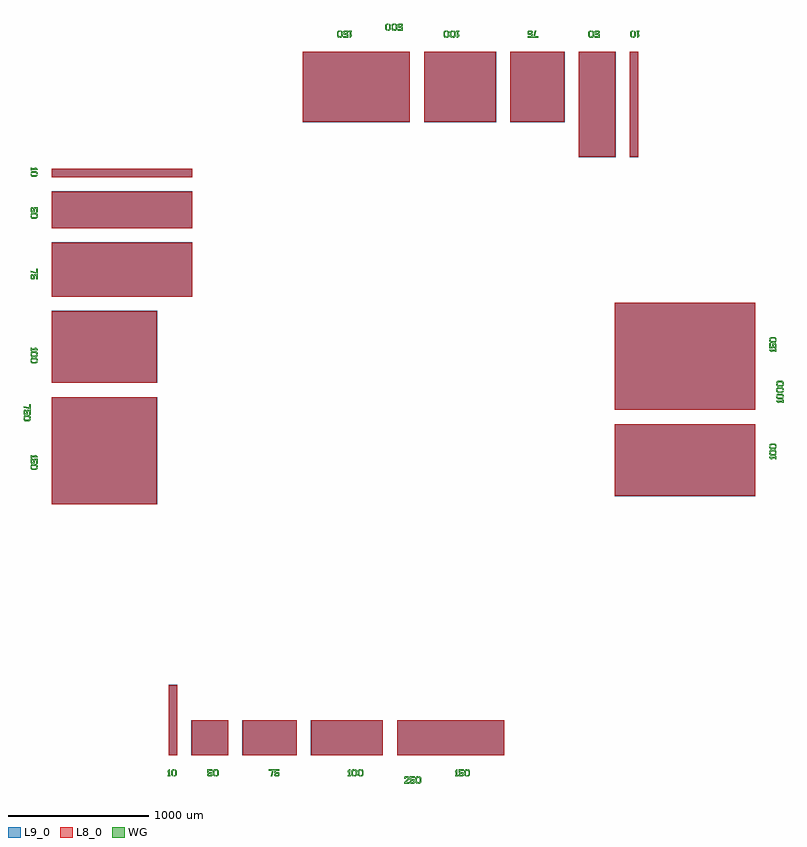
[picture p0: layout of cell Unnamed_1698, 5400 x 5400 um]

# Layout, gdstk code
from math import pi, radians
import gdstk
lib = gdstk.Library(unit=1e-6, precision=1e-09)
def R(c, l, rs):  # rectangles x0, y0, x1, y1
    for r in rs: c.add(gdstk.rectangle(r[:2], r[2:], *l))
def P(c, l, *ps):  # polygons
    for p in ps: c.add(gdstk.Polygon(p, *l))
WG = (1, 0)
L8_0 = (8, 0)
L9_0 = (9, 0)

unnamed_1697 = lib.new_cell('Unnamed_1697')

text_t1000_s50_p0_0_jlef = lib.new_cell('text_T1000_S50_P0_0_Jleft_L1_0')
P(text_t1000_s50_p0_0_jlef, WG, [(48.5,0),(51,10),(55,10),(60,15),(60,35),(55,40),(57.5,50),(60,50),(70,40),(70,10),(60,0)],
  [(93.5,0),(96,10),(100,10),(105,15),(105,35),(100,40),(102.5,50),(105,50),(115,40),(115,10),(105,0)],
  [(138.5,0),(141,10),(145,10),(150,15),(150,35),(145,40),(147.5,50),(150,50),(160,40),(160,10),(150,0)],
  [(40,0),(30,10),(30,40),(40,50),(51.5,50),(49,40),(45,40),(40,35),(40,15),(45,10),(42.5,0)],
  [(85,0),(75,10),(75,40),(85,50),(96.5,50),(94,40),(90,40),(85,35),(85,15),(90,10),(87.5,0)],
  [(130,0),(120,10),(120,40),(130,50),(141.5,50),(139,40),(135,40),(130,35),(130,15),(135,10),(132.5,0)],
  [(5,0),(5,10),(10,10),(10,30),(5,30),(5,40),(15,50),(20,50),(20,10),(25,10),(25,0)])

rectangle_s762_1000_l9__ = lib.new_cell('rectangle_S762_1000_L9__2ec0ac9d')
R(rectangle_s762_1000_l9__, L9_0, [(0,0,762,1000)])

text_t150_s50_p0_0_jleft = lib.new_cell('text_T150_S50_P0_0_Jleft_L1_0')
P(text_t150_s50_p0_0_jleft, WG, [(88.5,0),(91,10),(95,10),(100,15),(100,35),(95,40),(97.5,50),(100,50),(110,40),(110,10),(100,0)],
  [(80,0),(70,10),(70,40),(80,50),(91.5,50),(89,40),(85,40),(80,35),(80,15),(85,10),(82.5,0)],
  [(35,0),(30,5),(30,15),(40,15),(40,10),(55,10),(55,20),(35,20),(30,25),(30,50),(65,50),(65,40),(40,40),(40,30),(60,30),(65,25),(65,5),(60,0)],
  [(5,0),(5,10),(10,10),(10,30),(5,30),(5,40),(15,50),(20,50),(20,10),(25,10),(25,0)])

rectangle_s150_998_l8_0_ = lib.new_cell('rectangle_S150_998_L8_0_cd40ac17')
R(rectangle_s150_998_l8_0_, L8_0, [(0,0,150,998)])

unnamed_1691 = lib.new_cell('Unnamed_1691')
unnamed_1691.add(gdstk.Reference(rectangle_s762_1000_l9__, (331.333,0)))
unnamed_1691.add(gdstk.Reference(text_t150_s50_p0_0_jleft, (739.333,-150)))
unnamed_1691.add(gdstk.Reference(rectangle_s150_998_l8_0_, (333.333,0)))
unnamed_1691.add(gdstk.Reference(rectangle_s150_998_l8_0_, (485.333,0)))
unnamed_1691.add(gdstk.Reference(rectangle_s150_998_l8_0_, (637.333,0)))
unnamed_1691.add(gdstk.Reference(rectangle_s150_998_l8_0_, (789.333,0)))
unnamed_1691.add(gdstk.Reference(rectangle_s150_998_l8_0_, (941.333,0)))

rectangle_s512_1000_l9__ = lib.new_cell('rectangle_S512_1000_L9__49914296')
R(rectangle_s512_1000_l9__, L9_0, [(0,0,512,1000)])

text_t100_s50_p0_0_jleft = lib.new_cell('text_T100_S50_P0_0_Jleft_L1_0')
P(text_t100_s50_p0_0_jleft, WG, [(48.5,0),(51,10),(55,10),(60,15),(60,35),(55,40),(57.5,50),(60,50),(70,40),(70,10),(60,0)],
  [(93.5,0),(96,10),(100,10),(105,15),(105,35),(100,40),(102.5,50),(105,50),(115,40),(115,10),(105,0)],
  [(40,0),(30,10),(30,40),(40,50),(51.5,50),(49,40),(45,40),(40,35),(40,15),(45,10),(42.5,0)],
  [(85,0),(75,10),(75,40),(85,50),(96.5,50),(94,40),(90,40),(85,35),(85,15),(90,10),(87.5,0)],
  [(5,0),(5,10),(10,10),(10,30),(5,30),(5,40),(15,50),(20,50),(20,10),(25,10),(25,0)])

rectangle_s100_998_l8_0_ = lib.new_cell('rectangle_S100_998_L8_0_c306aa22')
R(rectangle_s100_998_l8_0_, L8_0, [(0,0,100,998)])

unnamed_1690 = lib.new_cell('Unnamed_1690')
unnamed_1690.add(gdstk.Reference(rectangle_s512_1000_l9__, (331.333,0)))
unnamed_1690.add(gdstk.Reference(text_t100_s50_p0_0_jleft, (589.333,-150)))
unnamed_1690.add(gdstk.Reference(rectangle_s100_998_l8_0_, (333.333,0)))
unnamed_1690.add(gdstk.Reference(rectangle_s100_998_l8_0_, (435.333,0)))
unnamed_1690.add(gdstk.Reference(rectangle_s100_998_l8_0_, (537.333,0)))
unnamed_1690.add(gdstk.Reference(rectangle_s100_998_l8_0_, (639.333,0)))
unnamed_1690.add(gdstk.Reference(rectangle_s100_998_l8_0_, (741.333,0)))

unnamed_1695 = lib.new_cell('Unnamed_1695')
unnamed_1695.add(gdstk.Reference(text_t1000_s50_p0_0_jlef, (2500,-200)))
unnamed_1695.add(gdstk.Reference(unnamed_1691, (2123,0)))
unnamed_1695.add(gdstk.Reference(unnamed_1690, (1511,0)))

unnamed_1696 = lib.new_cell('Unnamed_1696')

rectangle_s387_1000_l9__ = lib.new_cell('rectangle_S387_1000_L9__6f692152')
R(rectangle_s387_1000_l9__, L9_0, [(0,0,387,1000)])

text_t75_s50_p0_0_jleft_ = lib.new_cell('text_T75_S50_P0_0_Jleft_L1_0')
P(text_t75_s50_p0_0_jleft_, WG, [(50,0),(45,5),(45,15),(55,15),(55,10),(70,10),(70,20),(50,20),(45,25),(45,50),(80,50),(80,40),(55,40),(55,30),(75,30),(80,25),(80,5),(75,0)],
  [(20,0),(28,40),(5,40),(5,50),(40,50),(30,0)])

rectangle_s75_998_l8_0__ = lib.new_cell('rectangle_S75_998_L8_0__cc8ebacf')
R(rectangle_s75_998_l8_0__, L8_0, [(0,0,75,998)])

unnamed_1689 = lib.new_cell('Unnamed_1689')
unnamed_1689.add(gdstk.Reference(rectangle_s387_1000_l9__, (331.333,0)))
unnamed_1689.add(gdstk.Reference(text_t75_s50_p0_0_jleft_, (514.333,-150)))
unnamed_1689.add(gdstk.Reference(rectangle_s75_998_l8_0__, (333.333,0)))
unnamed_1689.add(gdstk.Reference(rectangle_s75_998_l8_0__, (410.333,0)))
unnamed_1689.add(gdstk.Reference(rectangle_s75_998_l8_0__, (487.333,0)))
unnamed_1689.add(gdstk.Reference(rectangle_s75_998_l8_0__, (564.333,0)))
unnamed_1689.add(gdstk.Reference(rectangle_s75_998_l8_0__, (641.333,0)))

rectangle_s62_1000_l9_0_ = lib.new_cell('rectangle_S62_1000_L9_0_8d7e5a74')
R(rectangle_s62_1000_l9_0_, L9_0, [(0,0,62,1000)])

text_t10_s50_p0_0_jleft_ = lib.new_cell('text_T10_S50_P0_0_Jleft_L1_0')
P(text_t10_s50_p0_0_jleft_, WG, [(48.5,0),(51,10),(55,10),(60,15),(60,35),(55,40),(57.5,50),(60,50),(70,40),(70,10),(60,0)],
  [(40,0),(30,10),(30,40),(40,50),(51.5,50),(49,40),(45,40),(40,35),(40,15),(45,10),(42.5,0)],
  [(5,0),(5,10),(10,10),(10,30),(5,30),(5,40),(15,50),(20,50),(20,10),(25,10),(25,0)])

rectangle_s10_998_l8_0__ = lib.new_cell('rectangle_S10_998_L8_0__618c10ad')
R(rectangle_s10_998_l8_0__, L8_0, [(0,0,10,998)])

unnamed_1687 = lib.new_cell('Unnamed_1687')
unnamed_1687.add(gdstk.Reference(rectangle_s62_1000_l9_0_, (331.333,0)))
unnamed_1687.add(gdstk.Reference(text_t10_s50_p0_0_jleft_, (319.333,-150)))
unnamed_1687.add(gdstk.Reference(rectangle_s10_998_l8_0__, (333.333,0)))
unnamed_1687.add(gdstk.Reference(rectangle_s10_998_l8_0__, (345.333,0)))
unnamed_1687.add(gdstk.Reference(rectangle_s10_998_l8_0__, (357.333,0)))
unnamed_1687.add(gdstk.Reference(rectangle_s10_998_l8_0__, (369.333,0)))
unnamed_1687.add(gdstk.Reference(rectangle_s10_998_l8_0__, (381.333,0)))

text_t750_s50_p0_0_jleft = lib.new_cell('text_T750_S50_P0_0_Jleft_L1_0')
P(text_t750_s50_p0_0_jleft, WG, [(95,0),(85,10),(85,40),(95,50),(106.5,50),(104,40),(100,40),(95,35),(95,15),(100,10),(97.5,0)],
  [(50,0),(45,5),(45,15),(55,15),(55,10),(70,10),(70,20),(50,20),(45,25),(45,50),(80,50),(80,40),(55,40),(55,30),(75,30),(80,25),(80,5),(75,0)],
  [(103.5,0),(106,10),(110,10),(115,15),(115,35),(110,40),(112.5,50),(115,50),(125,40),(125,10),(115,0)],
  [(20,0),(28,40),(5,40),(5,50),(40,50),(30,0)])

rectangle_s762_750_l9_0_ = lib.new_cell('rectangle_S762_750_L9_0_17e04201')
R(rectangle_s762_750_l9_0_, L9_0, [(0,0,762,750)])

rectangle_s150_748_l8_0_ = lib.new_cell('rectangle_S150_748_L8_0_392cc59f')
R(rectangle_s150_748_l8_0_, L8_0, [(0,0,150,748)])

unnamed_1686 = lib.new_cell('Unnamed_1686')
unnamed_1686.add(gdstk.Reference(rectangle_s762_750_l9_0_, (331.333,0)))
unnamed_1686.add(gdstk.Reference(text_t150_s50_p0_0_jleft, (739.333,-150)))
unnamed_1686.add(gdstk.Reference(rectangle_s150_748_l8_0_, (333.333,0)))
unnamed_1686.add(gdstk.Reference(rectangle_s150_748_l8_0_, (485.333,0)))
unnamed_1686.add(gdstk.Reference(rectangle_s150_748_l8_0_, (637.333,0)))
unnamed_1686.add(gdstk.Reference(rectangle_s150_748_l8_0_, (789.333,0)))
unnamed_1686.add(gdstk.Reference(rectangle_s150_748_l8_0_, (941.333,0)))

rectangle_s262_1000_l9__ = lib.new_cell('rectangle_S262_1000_L9__936ff396')
R(rectangle_s262_1000_l9__, L9_0, [(0,0,262,1000)])

text_t50_s50_p0_0_jleft_ = lib.new_cell('text_T50_S50_P0_0_Jleft_L1_0')
P(text_t50_s50_p0_0_jleft_, WG, [(63.5,0),(66,10),(70,10),(75,15),(75,35),(70,40),(72.5,50),(75,50),(85,40),(85,10),(75,0)],
  [(55,0),(45,10),(45,40),(55,50),(66.5,50),(64,40),(60,40),(55,35),(55,15),(60,10),(57.5,0)],
  [(10,0),(5,5),(5,15),(15,15),(15,10),(30,10),(30,20),(10,20),(5,25),(5,50),(40,50),(40,40),(15,40),(15,30),(35,30),(40,25),(40,5),(35,0)])

rectangle_s50_998_l8_0__ = lib.new_cell('rectangle_S50_998_L8_0__a3cc393b')
R(rectangle_s50_998_l8_0__, L8_0, [(0,0,50,998)])

unnamed_1688 = lib.new_cell('Unnamed_1688')
unnamed_1688.add(gdstk.Reference(rectangle_s262_1000_l9__, (331.333,0)))
unnamed_1688.add(gdstk.Reference(text_t50_s50_p0_0_jleft_, (439.333,-150)))
unnamed_1688.add(gdstk.Reference(rectangle_s50_998_l8_0__, (333.333,0)))
unnamed_1688.add(gdstk.Reference(rectangle_s50_998_l8_0__, (385.333,0)))
unnamed_1688.add(gdstk.Reference(rectangle_s50_998_l8_0__, (437.333,0)))
unnamed_1688.add(gdstk.Reference(rectangle_s50_998_l8_0__, (489.333,0)))
unnamed_1688.add(gdstk.Reference(rectangle_s50_998_l8_0__, (541.333,0)))

rectangle_s512_750_l9_0_ = lib.new_cell('rectangle_S512_750_L9_0_e4d6bea2')
R(rectangle_s512_750_l9_0_, L9_0, [(0,0,512,750)])

rectangle_s100_748_l8_0_ = lib.new_cell('rectangle_S100_748_L8_0_e52924da')
R(rectangle_s100_748_l8_0_, L8_0, [(0,0,100,748)])

unnamed_1685 = lib.new_cell('Unnamed_1685')
unnamed_1685.add(gdstk.Reference(rectangle_s512_750_l9_0_, (331.333,0)))
unnamed_1685.add(gdstk.Reference(text_t100_s50_p0_0_jleft, (589.333,-150)))
unnamed_1685.add(gdstk.Reference(rectangle_s100_748_l8_0_, (333.333,0)))
unnamed_1685.add(gdstk.Reference(rectangle_s100_748_l8_0_, (435.333,0)))
unnamed_1685.add(gdstk.Reference(rectangle_s100_748_l8_0_, (537.333,0)))
unnamed_1685.add(gdstk.Reference(rectangle_s100_748_l8_0_, (639.333,0)))
unnamed_1685.add(gdstk.Reference(rectangle_s100_748_l8_0_, (741.333,0)))

rectangle_s387_750_l9_0_ = lib.new_cell('rectangle_S387_750_L9_0_92368e84')
R(rectangle_s387_750_l9_0_, L9_0, [(0,0,387,750)])

rectangle_s75_748_l8_0__ = lib.new_cell('rectangle_S75_748_L8_0__21cc7b18')
R(rectangle_s75_748_l8_0__, L8_0, [(0,0,75,748)])

unnamed_1684 = lib.new_cell('Unnamed_1684')
unnamed_1684.add(gdstk.Reference(rectangle_s387_750_l9_0_, (331.333,0)))
unnamed_1684.add(gdstk.Reference(text_t75_s50_p0_0_jleft_, (514.333,-150)))
unnamed_1684.add(gdstk.Reference(rectangle_s75_748_l8_0__, (333.333,0)))
unnamed_1684.add(gdstk.Reference(rectangle_s75_748_l8_0__, (410.333,0)))
unnamed_1684.add(gdstk.Reference(rectangle_s75_748_l8_0__, (487.333,0)))
unnamed_1684.add(gdstk.Reference(rectangle_s75_748_l8_0__, (564.333,0)))
unnamed_1684.add(gdstk.Reference(rectangle_s75_748_l8_0__, (641.333,0)))

unnamed_1694 = lib.new_cell('Unnamed_1694')
unnamed_1694.add(gdstk.Reference(unnamed_1689, (1024,0)))
unnamed_1694.add(gdstk.Reference(unnamed_1687, (500,0)))
unnamed_1694.add(gdstk.Reference(text_t750_s50_p0_0_jleft, (2500,-200)))
unnamed_1694.add(gdstk.Reference(unnamed_1686, (2123,0)))
unnamed_1694.add(gdstk.Reference(unnamed_1688, (662,0)))
unnamed_1694.add(gdstk.Reference(unnamed_1685, (1511,0)))
unnamed_1694.add(gdstk.Reference(unnamed_1684, (1024,0)))

rectangle_s62_750_l9_0__ = lib.new_cell('rectangle_S62_750_L9_0__490fc4e6')
R(rectangle_s62_750_l9_0__, L9_0, [(0,0,62,750)])

rectangle_s10_748_l8_0__ = lib.new_cell('rectangle_S10_748_L8_0__afdd4900')
R(rectangle_s10_748_l8_0__, L8_0, [(0,0,10,748)])

unnamed_1682 = lib.new_cell('Unnamed_1682')
unnamed_1682.add(gdstk.Reference(text_t10_s50_p0_0_jleft_, (319.333,-150)))
unnamed_1682.add(gdstk.Reference(rectangle_s62_750_l9_0__, (331.333,0)))
unnamed_1682.add(gdstk.Reference(rectangle_s10_748_l8_0__, (333.333,0)))
unnamed_1682.add(gdstk.Reference(rectangle_s10_748_l8_0__, (345.333,0)))
unnamed_1682.add(gdstk.Reference(rectangle_s10_748_l8_0__, (357.333,0)))
unnamed_1682.add(gdstk.Reference(rectangle_s10_748_l8_0__, (369.333,0)))
unnamed_1682.add(gdstk.Reference(rectangle_s10_748_l8_0__, (381.333,0)))

text_t500_s50_p0_0_jleft = lib.new_cell('text_T500_S50_P0_0_Jleft_L1_0')
P(text_t500_s50_p0_0_jleft, WG, [(63.5,0),(66,10),(70,10),(75,15),(75,35),(70,40),(72.5,50),(75,50),(85,40),(85,10),(75,0)],
  [(108.5,0),(111,10),(115,10),(120,15),(120,35),(115,40),(117.5,50),(120,50),(130,40),(130,10),(120,0)],
  [(55,0),(45,10),(45,40),(55,50),(66.5,50),(64,40),(60,40),(55,35),(55,15),(60,10),(57.5,0)],
  [(100,0),(90,10),(90,40),(100,50),(111.5,50),(109,40),(105,40),(100,35),(100,15),(105,10),(102.5,0)],
  [(10,0),(5,5),(5,15),(15,15),(15,10),(30,10),(30,20),(10,20),(5,25),(5,50),(40,50),(40,40),(15,40),(15,30),(35,30),(40,25),(40,5),(35,0)])

rectangle_s762_500_l9_0_ = lib.new_cell('rectangle_S762_500_L9_0_673e083e')
R(rectangle_s762_500_l9_0_, L9_0, [(0,0,762,500)])

rectangle_s150_498_l8_0_ = lib.new_cell('rectangle_S150_498_L8_0_3344f8a4')
R(rectangle_s150_498_l8_0_, L8_0, [(0,0,150,498)])

unnamed_1681 = lib.new_cell('Unnamed_1681')
unnamed_1681.add(gdstk.Reference(rectangle_s762_500_l9_0_, (331.333,0)))
unnamed_1681.add(gdstk.Reference(text_t150_s50_p0_0_jleft, (739.333,-150)))
unnamed_1681.add(gdstk.Reference(rectangle_s150_498_l8_0_, (333.333,0)))
unnamed_1681.add(gdstk.Reference(rectangle_s150_498_l8_0_, (485.333,0)))
unnamed_1681.add(gdstk.Reference(rectangle_s150_498_l8_0_, (637.333,0)))
unnamed_1681.add(gdstk.Reference(rectangle_s150_498_l8_0_, (789.333,0)))
unnamed_1681.add(gdstk.Reference(rectangle_s150_498_l8_0_, (941.333,0)))

rectangle_s387_500_l9_0_ = lib.new_cell('rectangle_S387_500_L9_0_98f4c2b9')
R(rectangle_s387_500_l9_0_, L9_0, [(0,0,387,500)])

rectangle_s75_498_l8_0__ = lib.new_cell('rectangle_S75_498_L8_0__5f6cecd9')
R(rectangle_s75_498_l8_0__, L8_0, [(0,0,75,498)])

unnamed_1679 = lib.new_cell('Unnamed_1679')
unnamed_1679.add(gdstk.Reference(rectangle_s387_500_l9_0_, (331.333,0)))
unnamed_1679.add(gdstk.Reference(text_t75_s50_p0_0_jleft_, (514.333,-150)))
unnamed_1679.add(gdstk.Reference(rectangle_s75_498_l8_0__, (333.333,0)))
unnamed_1679.add(gdstk.Reference(rectangle_s75_498_l8_0__, (410.333,0)))
unnamed_1679.add(gdstk.Reference(rectangle_s75_498_l8_0__, (487.333,0)))
unnamed_1679.add(gdstk.Reference(rectangle_s75_498_l8_0__, (564.333,0)))
unnamed_1679.add(gdstk.Reference(rectangle_s75_498_l8_0__, (641.333,0)))

rectangle_s512_500_l9_0_ = lib.new_cell('rectangle_S512_500_L9_0_771133df')
R(rectangle_s512_500_l9_0_, L9_0, [(0,0,512,500)])

rectangle_s100_498_l8_0_ = lib.new_cell('rectangle_S100_498_L8_0_8e44272a')
R(rectangle_s100_498_l8_0_, L8_0, [(0,0,100,498)])

unnamed_1680 = lib.new_cell('Unnamed_1680')
unnamed_1680.add(gdstk.Reference(rectangle_s512_500_l9_0_, (331.333,0)))
unnamed_1680.add(gdstk.Reference(text_t100_s50_p0_0_jleft, (589.333,-150)))
unnamed_1680.add(gdstk.Reference(rectangle_s100_498_l8_0_, (333.333,0)))
unnamed_1680.add(gdstk.Reference(rectangle_s100_498_l8_0_, (435.333,0)))
unnamed_1680.add(gdstk.Reference(rectangle_s100_498_l8_0_, (537.333,0)))
unnamed_1680.add(gdstk.Reference(rectangle_s100_498_l8_0_, (639.333,0)))
unnamed_1680.add(gdstk.Reference(rectangle_s100_498_l8_0_, (741.333,0)))

rectangle_s262_750_l9_0_ = lib.new_cell('rectangle_S262_750_L9_0_9c07b2a0')
R(rectangle_s262_750_l9_0_, L9_0, [(0,0,262,750)])

rectangle_s50_748_l8_0__ = lib.new_cell('rectangle_S50_748_L8_0__e69bb82a')
R(rectangle_s50_748_l8_0__, L8_0, [(0,0,50,748)])

unnamed_1683 = lib.new_cell('Unnamed_1683')
unnamed_1683.add(gdstk.Reference(rectangle_s262_750_l9_0_, (331.333,0)))
unnamed_1683.add(gdstk.Reference(text_t50_s50_p0_0_jleft_, (439.333,-150)))
unnamed_1683.add(gdstk.Reference(rectangle_s50_748_l8_0__, (333.333,0)))
unnamed_1683.add(gdstk.Reference(rectangle_s50_748_l8_0__, (385.333,0)))
unnamed_1683.add(gdstk.Reference(rectangle_s50_748_l8_0__, (437.333,0)))
unnamed_1683.add(gdstk.Reference(rectangle_s50_748_l8_0__, (489.333,0)))
unnamed_1683.add(gdstk.Reference(rectangle_s50_748_l8_0__, (541.333,0)))

rectangle_s262_500_l9_0_ = lib.new_cell('rectangle_S262_500_L9_0_1d0361b1')
R(rectangle_s262_500_l9_0_, L9_0, [(0,0,262,500)])

rectangle_s50_498_l8_0__ = lib.new_cell('rectangle_S50_498_L8_0__cadecadc')
R(rectangle_s50_498_l8_0__, L8_0, [(0,0,50,498)])

unnamed_1678 = lib.new_cell('Unnamed_1678')
unnamed_1678.add(gdstk.Reference(text_t50_s50_p0_0_jleft_, (439.333,-150)))
unnamed_1678.add(gdstk.Reference(rectangle_s262_500_l9_0_, (331.333,0)))
unnamed_1678.add(gdstk.Reference(rectangle_s50_498_l8_0__, (333.333,0)))
unnamed_1678.add(gdstk.Reference(rectangle_s50_498_l8_0__, (385.333,0)))
unnamed_1678.add(gdstk.Reference(rectangle_s50_498_l8_0__, (437.333,0)))
unnamed_1678.add(gdstk.Reference(rectangle_s50_498_l8_0__, (489.333,0)))
unnamed_1678.add(gdstk.Reference(rectangle_s50_498_l8_0__, (541.333,0)))

unnamed_1693 = lib.new_cell('Unnamed_1693')
unnamed_1693.add(gdstk.Reference(unnamed_1682, (500,0)))
unnamed_1693.add(gdstk.Reference(text_t500_s50_p0_0_jleft, (2500,-200)))
unnamed_1693.add(gdstk.Reference(unnamed_1681, (2123,0)))
unnamed_1693.add(gdstk.Reference(unnamed_1679, (1024,0)))
unnamed_1693.add(gdstk.Reference(unnamed_1680, (1511,0)))
unnamed_1693.add(gdstk.Reference(unnamed_1683, (662,0)))
unnamed_1693.add(gdstk.Reference(unnamed_1678, (662,0)))

rectangle_s62_500_l9_0__ = lib.new_cell('rectangle_S62_500_L9_0__e5c27c60')
R(rectangle_s62_500_l9_0__, L9_0, [(0,0,62,500)])

rectangle_s10_498_l8_0__ = lib.new_cell('rectangle_S10_498_L8_0__ad3ec932')
R(rectangle_s10_498_l8_0__, L8_0, [(0,0,10,498)])

unnamed_1677 = lib.new_cell('Unnamed_1677')
unnamed_1677.add(gdstk.Reference(rectangle_s62_500_l9_0__, (331.333,0)))
unnamed_1677.add(gdstk.Reference(text_t10_s50_p0_0_jleft_, (319.333,-150)))
unnamed_1677.add(gdstk.Reference(rectangle_s10_498_l8_0__, (333.333,0)))
unnamed_1677.add(gdstk.Reference(rectangle_s10_498_l8_0__, (345.333,0)))
unnamed_1677.add(gdstk.Reference(rectangle_s10_498_l8_0__, (357.333,0)))
unnamed_1677.add(gdstk.Reference(rectangle_s10_498_l8_0__, (369.333,0)))
unnamed_1677.add(gdstk.Reference(rectangle_s10_498_l8_0__, (381.333,0)))

text_t250_s50_p0_0_jleft = lib.new_cell('text_T250_S50_P0_0_Jleft_L1_0')
P(text_t250_s50_p0_0_jleft, WG, [(95,0),(85,10),(85,40),(95,50),(106.5,50),(104,40),(100,40),(95,35),(95,15),(100,10),(97.5,0)],
  [(50,0),(45,5),(45,15),(55,15),(55,10),(70,10),(70,20),(50,20),(45,25),(45,50),(80,50),(80,40),(55,40),(55,30),(75,30),(80,25),(80,5),(75,0)],
  [(103.5,0),(106,10),(110,10),(115,15),(115,35),(110,40),(112.5,50),(115,50),(125,40),(125,10),(115,0)],
  [(5,0),(5,10),(30,35),(30,40),(15,40),(15,35),(5,35),(5,45),(10,50),(35,50),(40,45),(40,30),(20,10),(40,10),(40,0)])

rectangle_s512_250_l9_0_ = lib.new_cell('rectangle_S512_250_L9_0_a11cdf93')
R(rectangle_s512_250_l9_0_, L9_0, [(0,0,512,250)])

rectangle_s100_248_l8_0_ = lib.new_cell('rectangle_S100_248_L8_0_ec6efe2a')
R(rectangle_s100_248_l8_0_, L8_0, [(0,0,100,248)])

unnamed_1675 = lib.new_cell('Unnamed_1675')
unnamed_1675.add(gdstk.Reference(rectangle_s512_250_l9_0_, (331.333,0)))
unnamed_1675.add(gdstk.Reference(text_t100_s50_p0_0_jleft, (589.333,-150)))
unnamed_1675.add(gdstk.Reference(rectangle_s100_248_l8_0_, (333.333,0)))
unnamed_1675.add(gdstk.Reference(rectangle_s100_248_l8_0_, (435.333,0)))
unnamed_1675.add(gdstk.Reference(rectangle_s100_248_l8_0_, (537.333,0)))
unnamed_1675.add(gdstk.Reference(rectangle_s100_248_l8_0_, (639.333,0)))
unnamed_1675.add(gdstk.Reference(rectangle_s100_248_l8_0_, (741.333,0)))

rectangle_s387_250_l9_0_ = lib.new_cell('rectangle_S387_250_L9_0_9fa70b9d')
R(rectangle_s387_250_l9_0_, L9_0, [(0,0,387,250)])

rectangle_s75_248_l8_0__ = lib.new_cell('rectangle_S75_248_L8_0__2b17ab04')
R(rectangle_s75_248_l8_0__, L8_0, [(0,0,75,248)])

unnamed_1674 = lib.new_cell('Unnamed_1674')
unnamed_1674.add(gdstk.Reference(rectangle_s387_250_l9_0_, (331.333,0)))
unnamed_1674.add(gdstk.Reference(text_t75_s50_p0_0_jleft_, (514.333,-150)))
unnamed_1674.add(gdstk.Reference(rectangle_s75_248_l8_0__, (333.333,0)))
unnamed_1674.add(gdstk.Reference(rectangle_s75_248_l8_0__, (410.333,0)))
unnamed_1674.add(gdstk.Reference(rectangle_s75_248_l8_0__, (487.333,0)))
unnamed_1674.add(gdstk.Reference(rectangle_s75_248_l8_0__, (564.333,0)))
unnamed_1674.add(gdstk.Reference(rectangle_s75_248_l8_0__, (641.333,0)))

rectangle_s762_250_l9_0_ = lib.new_cell('rectangle_S762_250_L9_0_6f3f16c2')
R(rectangle_s762_250_l9_0_, L9_0, [(0,0,762,250)])

rectangle_s150_248_l8_0_ = lib.new_cell('rectangle_S150_248_L8_0_45914063')
R(rectangle_s150_248_l8_0_, L8_0, [(0,0,150,248)])

unnamed_1676 = lib.new_cell('Unnamed_1676')
unnamed_1676.add(gdstk.Reference(text_t150_s50_p0_0_jleft, (739.333,-150)))
unnamed_1676.add(gdstk.Reference(rectangle_s762_250_l9_0_, (331.333,0)))
unnamed_1676.add(gdstk.Reference(rectangle_s150_248_l8_0_, (333.333,0)))
unnamed_1676.add(gdstk.Reference(rectangle_s150_248_l8_0_, (485.333,0)))
unnamed_1676.add(gdstk.Reference(rectangle_s150_248_l8_0_, (637.333,0)))
unnamed_1676.add(gdstk.Reference(rectangle_s150_248_l8_0_, (789.333,0)))
unnamed_1676.add(gdstk.Reference(rectangle_s150_248_l8_0_, (941.333,0)))

rectangle_s262_250_l9_0_ = lib.new_cell('rectangle_S262_250_L9_0_a30c850b')
R(rectangle_s262_250_l9_0_, L9_0, [(0,0,262,250)])

rectangle_s50_248_l8_0__ = lib.new_cell('rectangle_S50_248_L8_0__6a217ae2')
R(rectangle_s50_248_l8_0__, L8_0, [(0,0,50,248)])

unnamed_1673 = lib.new_cell('Unnamed_1673')
unnamed_1673.add(gdstk.Reference(rectangle_s262_250_l9_0_, (331.333,0)))
unnamed_1673.add(gdstk.Reference(text_t50_s50_p0_0_jleft_, (439.333,-150)))
unnamed_1673.add(gdstk.Reference(rectangle_s50_248_l8_0__, (333.333,0)))
unnamed_1673.add(gdstk.Reference(rectangle_s50_248_l8_0__, (385.333,0)))
unnamed_1673.add(gdstk.Reference(rectangle_s50_248_l8_0__, (437.333,0)))
unnamed_1673.add(gdstk.Reference(rectangle_s50_248_l8_0__, (489.333,0)))
unnamed_1673.add(gdstk.Reference(rectangle_s50_248_l8_0__, (541.333,0)))

rectangle_s62_250_l9_0__ = lib.new_cell('rectangle_S62_250_L9_0__b934522f')
R(rectangle_s62_250_l9_0__, L9_0, [(0,0,62,250)])

rectangle_s10_248_l8_0__ = lib.new_cell('rectangle_S10_248_L8_0__7390707e')
R(rectangle_s10_248_l8_0__, L8_0, [(0,0,10,248)])

unnamed_1672 = lib.new_cell('Unnamed_1672')
unnamed_1672.add(gdstk.Reference(rectangle_s62_250_l9_0__, (331.333,0)))
unnamed_1672.add(gdstk.Reference(text_t10_s50_p0_0_jleft_, (319.333,-150)))
unnamed_1672.add(gdstk.Reference(rectangle_s10_248_l8_0__, (333.333,0)))
unnamed_1672.add(gdstk.Reference(rectangle_s10_248_l8_0__, (345.333,0)))
unnamed_1672.add(gdstk.Reference(rectangle_s10_248_l8_0__, (357.333,0)))
unnamed_1672.add(gdstk.Reference(rectangle_s10_248_l8_0__, (369.333,0)))
unnamed_1672.add(gdstk.Reference(rectangle_s10_248_l8_0__, (381.333,0)))

unnamed_1692 = lib.new_cell('Unnamed_1692')
unnamed_1692.add(gdstk.Reference(unnamed_1677, (500,0)))
unnamed_1692.add(gdstk.Reference(text_t250_s50_p0_0_jleft, (2500,-200)))
unnamed_1692.add(gdstk.Reference(unnamed_1675, (1511,0)))
unnamed_1692.add(gdstk.Reference(unnamed_1674, (1024,0)))
unnamed_1692.add(gdstk.Reference(unnamed_1676, (2123,0)))
unnamed_1692.add(gdstk.Reference(unnamed_1673, (662,0)))
unnamed_1692.add(gdstk.Reference(unnamed_1672, (500,0)))

unnamed_1698 = lib.new_cell('Unnamed_1698')
unnamed_1698.add(gdstk.Reference(unnamed_1697, (5000,0), rotation=pi/2))
unnamed_1698.add(gdstk.Reference(unnamed_1695, (5000,0), rotation=pi/2))
unnamed_1698.add(gdstk.Reference(unnamed_1696, (5000,0), rotation=pi/2))
unnamed_1698.add(gdstk.Reference(unnamed_1694, (0,5000), rotation=3*pi/2))
unnamed_1698.add(gdstk.Reference(unnamed_1693, (5000,5000), rotation=pi))
unnamed_1698.add(gdstk.Reference(unnamed_1692, (0,0)))

lib.write_gds('Unnamed_1698.gds')
